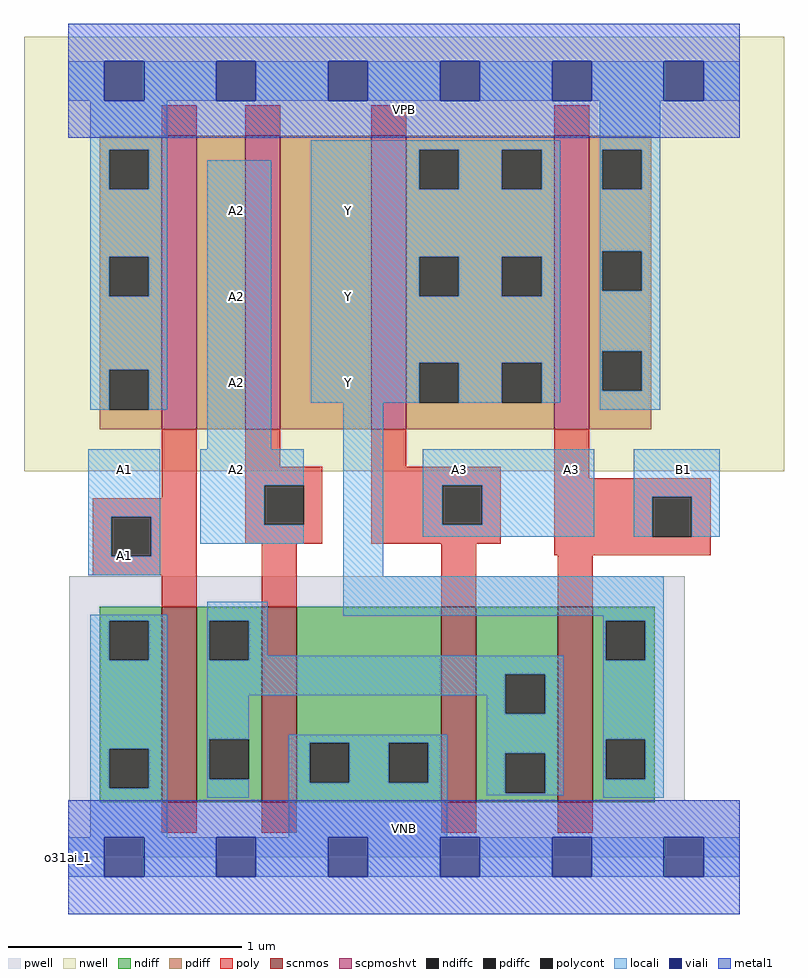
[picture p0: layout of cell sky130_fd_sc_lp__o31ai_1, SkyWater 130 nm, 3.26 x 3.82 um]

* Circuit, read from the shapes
.subckt sky130_fd_sc_lp__o31ai_1 A1 A2 A3 B1 VGND VNB VPB VPWR Y
XM1 n1 A1 VGND VNB sky130_fd_pr__nfet_01v8 w=0.84 l=0.15
XM2 VGND A2 n1 VNB sky130_fd_pr__nfet_01v8 w=0.84 l=0.15
XM3 n1 A3 VGND VNB sky130_fd_pr__nfet_01v8 w=0.84 l=0.15
XM4 Y B1 n1 VNB sky130_fd_pr__nfet_01v8 w=0.84 l=0.15
XM5 n2 A1 VPWR VPB sky130_fd_pr__pfet_01v8_hvt w=1.26 l=0.15
XM6 n3 A2 n2 VPB sky130_fd_pr__pfet_01v8_hvt w=1.26 l=0.15
XM7 Y A3 n3 VPB sky130_fd_pr__pfet_01v8_hvt w=1.26 l=0.15
XM8 VPWR B1 Y VPB sky130_fd_pr__pfet_01v8_hvt w=1.26 l=0.15
.ends

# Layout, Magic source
magic
tech sky130A
magscale 1 2
<< nwell >>
rect -38 331 614 704
<< pwell >>
rect 1 49 529 241
rect 0 0 576 49
<< scnmos >>
rect 80 47 110 215
rect 166 47 196 215
rect 320 47 350 215
rect 420 47 450 215
<< scpmoshvt >>
rect 80 367 110 619
rect 152 367 182 619
rect 260 367 290 619
rect 417 367 447 619
<< ndiff >>
rect 27 203 80 215
rect 27 169 35 203
rect 69 169 80 203
rect 27 93 80 169
rect 27 59 35 93
rect 69 59 80 93
rect 27 47 80 59
rect 110 203 166 215
rect 110 169 121 203
rect 155 169 166 203
rect 110 101 166 169
rect 110 67 121 101
rect 155 67 166 101
rect 110 47 166 67
rect 196 98 320 215
rect 196 64 207 98
rect 241 64 275 98
rect 309 64 320 98
rect 196 47 320 64
rect 350 157 420 215
rect 350 123 375 157
rect 409 123 420 157
rect 350 89 420 123
rect 350 55 375 89
rect 409 55 420 89
rect 350 47 420 55
rect 450 203 503 215
rect 450 169 461 203
rect 495 169 503 203
rect 450 101 503 169
rect 450 67 461 101
rect 495 67 503 101
rect 450 47 503 67
<< pdiff >>
rect 27 607 80 619
rect 27 573 35 607
rect 69 573 80 607
rect 27 515 80 573
rect 27 481 35 515
rect 69 481 80 515
rect 27 418 80 481
rect 27 384 35 418
rect 69 384 80 418
rect 27 367 80 384
rect 110 367 152 619
rect 182 367 260 619
rect 290 607 417 619
rect 290 573 301 607
rect 335 573 372 607
rect 406 573 417 607
rect 290 515 417 573
rect 290 481 301 515
rect 335 481 372 515
rect 406 481 417 515
rect 290 424 417 481
rect 290 390 301 424
rect 335 390 372 424
rect 406 390 417 424
rect 290 367 417 390
rect 447 607 500 619
rect 447 573 458 607
rect 492 573 500 607
rect 447 520 500 573
rect 447 486 458 520
rect 492 486 500 520
rect 447 434 500 486
rect 447 400 458 434
rect 492 400 500 434
rect 447 367 500 400
<< ndiffc >>
rect 35 169 69 203
rect 35 59 69 93
rect 121 169 155 203
rect 121 67 155 101
rect 207 64 241 98
rect 275 64 309 98
rect 375 123 409 157
rect 375 55 409 89
rect 461 169 495 203
rect 461 67 495 101
<< pdiffc >>
rect 35 573 69 607
rect 35 481 69 515
rect 35 384 69 418
rect 301 573 335 607
rect 372 573 406 607
rect 301 481 335 515
rect 372 481 406 515
rect 301 390 335 424
rect 372 390 406 424
rect 458 573 492 607
rect 458 486 492 520
rect 458 400 492 434
<< poly >>
rect 80 619 110 645
rect 152 619 182 645
rect 260 619 290 645
rect 417 619 447 645
rect 80 308 110 367
rect 21 292 110 308
rect 21 258 37 292
rect 71 258 110 292
rect 152 335 182 367
rect 260 335 290 367
rect 152 319 218 335
rect 152 285 168 319
rect 202 285 218 319
rect 152 269 218 285
rect 260 319 371 335
rect 260 285 321 319
rect 355 285 371 319
rect 260 269 371 285
rect 417 325 447 367
rect 417 309 551 325
rect 417 275 501 309
rect 535 275 551 309
rect 21 242 110 258
rect 80 215 110 242
rect 166 215 196 269
rect 320 215 350 269
rect 417 259 551 275
rect 420 215 450 259
rect 80 21 110 47
rect 166 21 196 47
rect 320 21 350 47
rect 420 21 450 47
<< polycont >>
rect 37 258 71 292
rect 168 285 202 319
rect 321 285 355 319
rect 501 275 535 309
<< locali >>
rect 0 649 31 683
rect 65 649 127 683
rect 161 649 223 683
rect 257 649 319 683
rect 353 649 415 683
rect 449 649 511 683
rect 545 649 576 683
rect 19 607 85 649
rect 19 573 35 607
rect 69 573 85 607
rect 208 607 422 615
rect 19 515 85 573
rect 19 481 35 515
rect 69 481 85 515
rect 19 418 85 481
rect 19 384 35 418
rect 69 384 85 418
rect 119 350 174 598
rect 208 573 301 607
rect 335 573 372 607
rect 406 573 422 607
rect 208 515 422 573
rect 208 481 301 515
rect 335 481 372 515
rect 406 481 422 515
rect 208 424 422 481
rect 208 390 301 424
rect 335 390 372 424
rect 406 390 422 424
rect 456 607 508 649
rect 456 573 458 607
rect 492 573 508 607
rect 456 520 508 573
rect 456 486 458 520
rect 492 486 508 520
rect 456 434 508 486
rect 456 400 458 434
rect 492 400 508 434
rect 17 292 79 350
rect 17 258 37 292
rect 71 258 79 292
rect 113 319 202 350
rect 113 285 168 319
rect 113 269 202 285
rect 17 242 79 258
rect 236 241 270 390
rect 456 384 508 400
rect 304 319 451 350
rect 304 285 321 319
rect 355 285 451 319
rect 304 275 451 285
rect 485 309 559 350
rect 485 275 501 309
rect 535 275 559 309
rect 19 203 85 208
rect 19 169 35 203
rect 69 169 85 203
rect 19 93 85 169
rect 19 59 35 93
rect 69 59 85 93
rect 19 17 85 59
rect 119 203 171 219
rect 236 207 511 241
rect 119 169 121 203
rect 155 173 171 203
rect 459 203 511 207
rect 155 169 425 173
rect 119 157 425 169
rect 119 139 375 157
rect 119 101 155 139
rect 359 123 375 139
rect 409 123 425 157
rect 119 67 121 101
rect 119 51 155 67
rect 189 98 325 105
rect 189 64 207 98
rect 241 64 275 98
rect 309 64 325 98
rect 189 17 325 64
rect 359 89 425 123
rect 359 55 375 89
rect 409 55 425 89
rect 359 53 425 55
rect 459 169 461 203
rect 495 169 511 203
rect 459 101 511 169
rect 459 67 461 101
rect 495 67 511 101
rect 459 51 511 67
rect 0 -17 31 17
rect 65 -17 127 17
rect 161 -17 223 17
rect 257 -17 319 17
rect 353 -17 415 17
rect 449 -17 511 17
rect 545 -17 576 17
<< viali >>
rect 31 649 65 683
rect 127 649 161 683
rect 223 649 257 683
rect 319 649 353 683
rect 415 649 449 683
rect 511 649 545 683
rect 31 -17 65 17
rect 127 -17 161 17
rect 223 -17 257 17
rect 319 -17 353 17
rect 415 -17 449 17
rect 511 -17 545 17
<< metal1 >>
rect 0 683 576 715
rect 0 649 31 683
rect 65 649 127 683
rect 161 649 223 683
rect 257 649 319 683
rect 353 649 415 683
rect 449 649 511 683
rect 545 649 576 683
rect 0 617 576 649
rect 0 17 576 49
rect 0 -17 31 17
rect 65 -17 127 17
rect 161 -17 223 17
rect 257 -17 319 17
rect 353 -17 415 17
rect 449 -17 511 17
rect 545 -17 576 17
rect 0 -49 576 -17
<< labels >>
flabel pwell s 0 0 576 49 0 FreeSans 200 0 0 0 VNB
port 6 nsew ground bidirectional
flabel nwell s 0 617 576 666 0 FreeSans 200 0 0 0 VPB
port 7 nsew power bidirectional
rlabel comment s 0 0 0 0 4 o31ai_1
flabel metal1 s 0 617 576 666 0 FreeSans 340 0 0 0 VPWR
port 8 nsew power bidirectional
flabel metal1 s 0 0 576 49 0 FreeSans 340 0 0 0 VGND
port 5 nsew ground bidirectional
flabel locali s 127 316 161 350 0 FreeSans 340 0 0 0 A2
port 2 nsew signal input
flabel locali s 319 316 353 350 0 FreeSans 340 0 0 0 A3
port 3 nsew signal input
flabel locali s 223 390 257 424 0 FreeSans 340 0 0 0 Y
port 9 nsew signal output
flabel locali s 223 464 257 498 0 FreeSans 340 0 0 0 Y
port 9 nsew signal output
flabel locali s 223 538 257 572 0 FreeSans 340 0 0 0 Y
port 9 nsew signal output
flabel locali s 31 242 65 276 0 FreeSans 340 0 0 0 A1
port 1 nsew signal input
flabel locali s 31 316 65 350 0 FreeSans 340 0 0 0 A1
port 1 nsew signal input
flabel locali s 511 316 545 350 0 FreeSans 340 0 0 0 B1
port 4 nsew signal input
flabel locali s 127 538 161 572 0 FreeSans 340 0 0 0 A2
port 2 nsew signal input
flabel locali s 127 464 161 498 0 FreeSans 340 0 0 0 A2
port 2 nsew signal input
flabel locali s 127 390 161 424 0 FreeSans 340 0 0 0 A2
port 2 nsew signal input
flabel locali s 415 316 449 350 0 FreeSans 340 0 0 0 A3
port 3 nsew signal input
<< properties >>
string LEFsite unit
string LEFclass CORE
string FIXED_BBOX 0 0 576 666
string GDS_FILE $PDKPATH/libs.ref/sky130_fd_sc_lp/gds/sky130_fd_sc_lp.gds
string LEFsymmetry X Y R90
string GDS_END 247166
string GDS_START 240664
<< end >>
